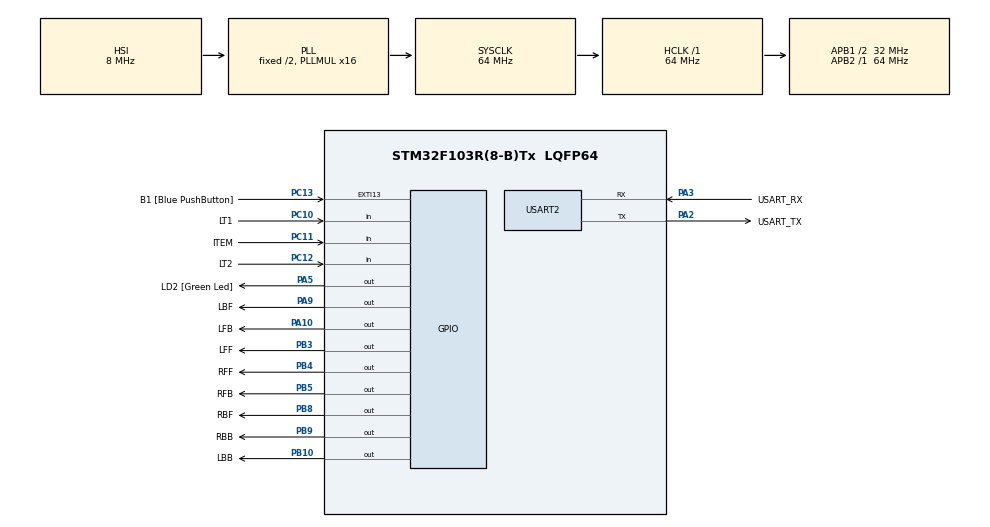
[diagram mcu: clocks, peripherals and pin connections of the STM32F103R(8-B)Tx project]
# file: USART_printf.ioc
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Mcu.Family=STM32F1
Mcu.Name=STM32F103R(8-B)Tx
Mcu.Package=LQFP64
NVIC.EXTI15_10_IRQn=true\:0\:0\:false\:false\:true\:true\:true\:true
NVIC.PriorityGroup=NVIC_PRIORITYGROUP_4
PA10.GPIO_Label=LFB
PA10.Signal=GPIO_Output
PA13.GPIO_Label=TMS
PA13.Mode=Serial_Wire
PA13.Signal=SYS_JTMS-SWDIO
PA14.GPIO_Label=TCK
PA14.Mode=Serial_Wire
PA14.Signal=SYS_JTCK-SWCLK
PA2.GPIO_Label=USART_TX
PA2.GPIO_Mode=GPIO_MODE_AF_PP
PA2.GPIO_PuPd=GPIO_NOPULL
PA2.GPIO_Speed=GPIO_SPEED_FREQ_LOW
PA2.Mode=Asynchronous
PA2.Signal=USART2_TX
PA3.GPIO_Label=USART_RX
PA3.GPIO_Mode=GPIO_MODE_AF_PP
PA3.GPIO_PuPd=GPIO_NOPULL
PA3.GPIO_Speed=GPIO_SPEED_FREQ_LOW
PA3.Mode=Asynchronous
PA3.Signal=USART2_RX
PA5.GPIO_Label=LD2 [Green Led]
PA5.GPIO_ModeDefaultOutputPP=GPIO_MODE_OUTPUT_PP
PA5.GPIO_PuPd=GPIO_NOPULL
PA5.GPIO_Speed=GPIO_SPEED_FREQ_LOW
PA5.Signal=GPIO_Output
PA9.GPIO_Label=LBF
PA9.Signal=GPIO_Output
PB10.GPIO_Label=LBB
PB10.Signal=GPIO_Output
PB3.GPIO_Label=LFF
PB3.Signal=GPIO_Output
PB4.GPIO_Label=RFF
PB4.Signal=GPIO_Output
PB5.GPIO_Label=RFB
PB5.Signal=GPIO_Output
PB8.GPIO_Label=RBF
PB8.Signal=GPIO_Output
PB9.GPIO_Label=RBB
PB9.Signal=GPIO_Output
PC10.GPIO_Label=LT1
PC10.Signal=GPIO_Input
PC11.GPIO_Label=ITEM
PC11.Signal=GPIO_Input
PC12.GPIO_Label=LT2
PC12.Signal=GPIO_Input
PC13-TAMPER-RTC.GPIO_Label=B1 [Blue PushButton]
PC13-TAMPER-RTC.GPIO_PuPd=GPIO_NOPULL
PC13-TAMPER-RTC.Signal=GPXTI13
PC14-OSC32_IN.Signal=RCC_OSC32_IN
PC15-OSC32_OUT.Signal=RCC_OSC32_OUT
PD0-OSC_IN.Signal=RCC_OSC_IN
PD1-OSC_OUT.Signal=RCC_OSC_OUT
ProjectManager.HeapSize=0x200
ProjectManager.StackSize=0x400
ProjectManager.TargetToolchain=STM32CubeIDE
RCC.AHBFreq_Value=64000000
RCC.APB1CLKDivider=RCC_HCLK_DIV2
RCC.APB1Freq_Value=32000000
RCC.APB1TimFreq_Value=64000000
RCC.APB2Freq_Value=64000000
RCC.APB2TimFreq_Value=64000000
RCC.HCLKFreq_Value=64000000
RCC.PLLMUL=RCC_PLL_MUL16
RCC.RTCClockSelection=RCC_RTCCLKSOURCE_LSE
RCC.SYSCLKFreq_VALUE=64000000
RCC.SYSCLKSource=RCC_SYSCLKSOURCE_PLLCLK
RCC.USBFreq_Value=64000000
USART2.VirtualMode=VM_ASYNC
board=NUCLEO-F103RB

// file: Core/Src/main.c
/* USER CODE BEGIN Header */
/**
  ******************************************************************************
  * @file           : main.c
  * @brief          : 서빙 로봇 시스템 v1.4
  ******************************************************************************
  * 센서 시퀀스:
  * 홈:       (0,0) 출발
  * 테이블1:  (1,1) → (1,0) 경계에서 정지
  * 테이블2:  (1,1) → (1,0) → (0,1) 경계에서 정지
  * 테이블3:  (1,1) → (1,0) → (0,1) → (0,0) 경계에서 정지
  ******************************************************************************
  */
/* USER CODE END Header */
#include "main.h"

/* USER CODE BEGIN Includes */
#include <stdio.h>
/* USER CODE END Includes */

UART_HandleTypeDef huart2;

/* USER CODE BEGIN PV */
#ifdef __GNUC__
#define PUTCHAR_PROTOTYPE int __io_putchar(int ch)
#define GETCHAR_PROTOTYPE int __io_getchar(void)
#else
#define PUTCHAR_PROTOTYPE int fputc(int ch, FILE *f)
#define GETCHAR_PROTOTYPE int fgetc(FILE *f)
#endif

int dir = 0;
int LF(int dir){
      switch(dir){
         case 1:
            HAL_GPIO_WritePin(LFF_GPIO_Port, LFF_Pin, 1);
            HAL_GPIO_WritePin(LFB_GPIO_Port, LFB_Pin, 0);
         break;

         case 0:
            HAL_GPIO_WritePin(LFF_GPIO_Port, LFF_Pin, 0);
            HAL_GPIO_WritePin(LFB_GPIO_Port, LFB_Pin, 1);
         break;

         case 2:
            HAL_GPIO_WritePin(LFF_GPIO_Port, LFF_Pin, 0);
            HAL_GPIO_WritePin(LFB_GPIO_Port, LFB_Pin, 0);
         break;
   }
      return 0;
}
int LB(int dir){
      switch(dir){
         case 1:
            HAL_GPIO_WritePin(LBF_GPIO_Port, LBF_Pin, 1);
            HAL_GPIO_WritePin(LBB_GPIO_Port, LBB_Pin, 0);
         break;

         case 0:
            HAL_GPIO_WritePin(LBF_GPIO_Port, LBF_Pin, 0);
            HAL_GPIO_WritePin(LBB_GPIO_Port, LBB_Pin, 1);
         break;

         case 2:
            HAL_GPIO_WritePin(LBF_GPIO_Port, LBF_Pin, 0);
            HAL_GPIO_WritePin(LBB_GPIO_Port, LBB_Pin, 0);
         break;
   }
      return 0;
}
int RF(int dir){
      switch(dir){
         case 1:
            HAL_GPIO_WritePin(RFF_GPIO_Port, RFF_Pin, 1);
            HAL_GPIO_WritePin(RFB_GPIO_Port, RFB_Pin, 0);
         break;

         case 0:
            HAL_GPIO_WritePin(RFF_GPIO_Port, RFF_Pin, 0);
            HAL_GPIO_WritePin(RFB_GPIO_Port, RFB_Pin, 1);
         break;

         case 2:
            HAL_GPIO_WritePin(RFF_GPIO_Port, RFF_Pin, 0);
            HAL_GPIO_WritePin(RFB_GPIO_Port, RFB_Pin, 0);
         break;
   }
      return 0;
}
int RB(int dir){
      switch(dir){
         case 1:
            HAL_GPIO_WritePin(RBF_GPIO_Port, RBF_Pin, 1);
            HAL_GPIO_WritePin(RBB_GPIO_Port, RBB_Pin, 0);
         break;

         case 0:
            HAL_GPIO_WritePin(RBF_GPIO_Port, RBF_Pin, 0);
            HAL_GPIO_WritePin(RBB_GPIO_Port, RBB_Pin, 1);
         break;

         case 2:
            HAL_GPIO_WritePin(RBF_GPIO_Port, RBF_Pin, 0);
            HAL_GPIO_WritePin(RBB_GPIO_Port, RBB_Pin, 0);
         break;
   }
      return 0;
}

int TLF(){
   RF(1); RB(1); LF(2); LB(2);
   return 0;
}
int TRF(){
   RF(2); RB(2); LF(1); LB(1);
   return 0;
}
int TLB(){
   RF(0); RB(0); LF(2); LB(2);
   return 0;
}
int TRB(){
   RF(2); RB(2); LF(0); LB(0);
   return 0;
}
   void MF()
   {
      HAL_GPIO_WritePin(LFF_GPIO_Port, LFF_Pin, 1);
      HAL_GPIO_WritePin(LFB_GPIO_Port, LFB_Pin, 0);
      HAL_GPIO_WritePin(RFF_GPIO_Port, RFF_Pin, 1);
      HAL_GPIO_WritePin(RFB_GPIO_Port, RFB_Pin, 0);
       HAL_GPIO_WritePin(LBF_GPIO_Port, LBF_Pin, 1);
      HAL_GPIO_WritePin(LBB_GPIO_Port, LBB_Pin, 0);
      HAL_GPIO_WritePin(RBF_GPIO_Port, RBF_Pin, 1);
      HAL_GPIO_WritePin(RBB_GPIO_Port, RBB_Pin, 0);
   }

   void MB()
   {
      HAL_GPIO_WritePin(LFF_GPIO_Port, LFF_Pin, 0);
      HAL_GPIO_WritePin(LFB_GPIO_Port, LFB_Pin, 1);
      HAL_GPIO_WritePin(RFF_GPIO_Port, RFF_Pin, 0);
      HAL_GPIO_WritePin(RFB_GPIO_Port, RFB_Pin, 1);
      HAL_GPIO_WritePin(LBF_GPIO_Port, LBF_Pin, 0);
      HAL_GPIO_WritePin(LBB_GPIO_Port, LBB_Pin, 1);
      HAL_GPIO_WritePin(RBF_GPIO_Port, RBF_Pin, 0);
      HAL_GPIO_WritePin(RBB_GPIO_Port, RBB_Pin, 1);
   }

   // ML과 MR 스왑됨 (좌우 방향 수정)
   void MR()
   {
      HAL_GPIO_WritePin(LFF_GPIO_Port, LFF_Pin, 0);
      HAL_GPIO_WritePin(LFB_GPIO_Port, LFB_Pin, 0);
      HAL_GPIO_WritePin(RFF_GPIO_Port, RFF_Pin, 1);
      HAL_GPIO_WritePin(RFB_GPIO_Port, RFB_Pin, 0);
      HAL_GPIO_WritePin(LBF_GPIO_Port, LBF_Pin, 0);
      HAL_GPIO_WritePin(LBB_GPIO_Port, LBB_Pin, 0);
      HAL_GPIO_WritePin(RBF_GPIO_Port, RBF_Pin, 1);
      HAL_GPIO_WritePin(RBB_GPIO_Port, RBB_Pin, 0);
   }
   void ML()
   {
      HAL_GPIO_WritePin(LFF_GPIO_Port, LFF_Pin, 1);
      HAL_GPIO_WritePin(LFB_GPIO_Port, LFB_Pin, 0);
      HAL_GPIO_WritePin(RFF_GPIO_Port, RFF_Pin, 0);
      HAL_GPIO_WritePin(RFB_GPIO_Port, RFB_Pin, 0);
      HAL_GPIO_WritePin(LBF_GPIO_Port, LBF_Pin, 1);
      HAL_GPIO_WritePin(LBB_GPIO_Port, LBB_Pin, 0);
      HAL_GPIO_WritePin(RBF_GPIO_Port, RBF_Pin, 0);
      HAL_GPIO_WritePin(RBB_GPIO_Port, RBB_Pin, 0);
   }
   void ST()
   {
      HAL_GPIO_WritePin(LFF_GPIO_Port, LFF_Pin, 0);
      HAL_GPIO_WritePin(LFB_GPIO_Port, LFB_Pin, 0);
      HAL_GPIO_WritePin(RFF_GPIO_Port, RFF_Pin, 0);
      HAL_GPIO_WritePin(RFB_GPIO_Port, RFB_Pin, 0);
      HAL_GPIO_WritePin(LBF_GPIO_Port, LBF_Pin, 0);
      HAL_GPIO_WritePin(LBB_GPIO_Port, LBB_Pin, 0);
      HAL_GPIO_WritePin(RBF_GPIO_Port, RBF_Pin, 0);
      HAL_GPIO_WritePin(RBB_GPIO_Port, RBB_Pin, 0);
   }

PUTCHAR_PROTOTYPE
{
    if (ch == '\n')
        HAL_UART_Transmit(&huart2, (uint8_t*)"\r", 1, HAL_MAX_DELAY);
    HAL_UART_Transmit(&huart2, (uint8_t*)&ch, 1, HAL_MAX_DELAY);
    return ch;
}

GETCHAR_PROTOTYPE
{
    uint8_t ch;
    HAL_UART_Receive(&huart2, &ch, 1, HAL_MAX_DELAY);
    return ch;
}
/* USER CODE END PV */

void SystemClock_Config(void);
static void MX_GPIO_Init(void);
static void MX_USART2_UART_Init(void);

int main(void)
{

  /* USER CODE BEGIN 1 */
    // === 센서 변수 ===
    uint8_t SEN1 = 0;
    uint8_t SEN2 = 0;
    uint8_t SEN1_prev = 0;
    uint8_t SEN2_prev = 0;

    // === 서빙 로봇 상태 변수 ===
    // 0: 홈대기, 1: 전진중, 2: 도착-물건제거대기, 3: 복귀중, 4: 수동모드
    uint8_t system_state = 0;
    uint8_t target_table = 0;   // 목표 테이블 번호 (1, 2, 3)
    uint8_t item_sensor = 0;    // 물건 감지 센서 (1: 물건있음, 0: 없음)
    uint8_t item_sensor_prev = 0;

    // === 구간 추적 ===
    // 센서 시퀀스: (0,0) → (1,1) → (1,0) → (0,1) → (0,0)
    //             홈      구간1    구간2    구간3    구간4(테이블3)
    uint8_t zone_count = 0;     // 지나간 센서 변화 횟수

    // === UART 변수 ===
    uint8_t rx_data;
    HAL_StatusTypeDef uart_status;
  /* USER CODE END 1 */

  /* MCU Configuration--------------------------------------------------------*/

  /* Reset of all peripherals, Initializes the Flash interface and the Systick. */
  HAL_Init();

  /* Configure the system clock */
  SystemClock_Config();

  /* Initialize all configured peripherals */
  MX_GPIO_Init();
  MX_USART2_UART_Init();
  /* USER CODE BEGIN 2 */
    printf("\n========================================\n");
    printf("       서빙 로봇 시스템 v1.4\n");
    printf("========================================\n");
    printf("[테이블 선택] 1, 2, 3\n");
    printf("[물건 센서]   L: 물건올림, U: 물건내림\n");
    printf("[제어]       0: 강제복귀, X: 비상정지\n");
    printf("[수동조작]   W/A/S/D: 이동, q/e/z/c: 회전\n");
    printf("========================================\n");
    printf("센서 시퀀스:\n");
    printf("홈(0,0)→(1,1)→(1,0)T1→(0,1)T2→(0,0)T3\n");
    printf("========================================\n\n");
  /* USER CODE END 2 */

  /* Infinite loop */
  /* USER CODE BEGIN WHILE */
    while (1)
    {
        // ============================================
        // === 센서 읽기 ===
        // ============================================
        SEN1_prev = SEN1;
        SEN2_prev = SEN2;
        SEN1 = HAL_GPIO_ReadPin(LT1_GPIO_Port, LT1_Pin);
        SEN2 = HAL_GPIO_ReadPin(LT2_GPIO_Port, LT2_Pin);

        // === 물건 감지 센서 읽기 ===
        // 센서 극성: 물건 있음 = 0 (LOAD), 물건 없음 = 1 (UNLOAD)
        item_sensor_prev = item_sensor;
        uint8_t item_raw = HAL_GPIO_ReadPin(ITEM_GPIO_Port, ITEM_Pin);
        item_sensor = (item_raw == 0) ? 1 : 0;

        // 센서 상태 변화 시 LOAD/UNLOAD 출력
        if (item_sensor != item_sensor_prev) {
            if (item_sensor == 1) {
                printf(">>> LOAD\n");
            } else {
                printf(">>> UNLOAD\n");
            }
        }

        // ============================================
        // === 키 입력 처리 ===
        // ============================================
        uart_status = HAL_UART_Receive(&huart2, &rx_data, 1, 10);

        if (uart_status == HAL_OK)
        {
            printf("입력: %c\n", rx_data);

            switch (rx_data)
            {
                // === 테이블 목적지 설정 ===
                case '1':
                    if (system_state == 0 || system_state == 4) {
                        if (system_state == 4) {
                            ST();
                            system_state = 0;
                            printf(">>> 자동 모드로 전환\n");
                        }
                        target_table = 1;
                        zone_count = 0;
                        printf(">>> 목적지: 테이블 1 설정\n");
                    } else {
                        printf(">>> 이동 중에는 목적지 변경 불가\n");
                    }
                    break;

                case '2':
                    if (system_state == 0 || system_state == 4) {
                        if (system_state == 4) {
                            ST();
                            system_state = 0;
                            printf(">>> 자동 모드로 전환\n");
                        }
                        target_table = 2;
                        zone_count = 0;
                        printf(">>> 목적지: 테이블 2 설정\n");
                    } else {
                        printf(">>> 이동 중에는 목적지 변경 불가\n");
                    }
                    break;

                case '3':
                    if (system_state == 0 || system_state == 4) {
                        if (system_state == 4) {
                            ST();
                            system_state = 0;
                            printf(">>> 자동 모드로 전환\n");
                        }
                        target_table = 3;
                        zone_count = 0;
                        printf(">>> 목적지: 테이블 3 설정\n");
                    } else {
                        printf(">>> 이동 중에는 목적지 변경 불가\n");
                    }
                    break;

                // === 물건 센서 시뮬레이션 ===
                case 'L':
                case 'l':
                    item_sensor = 1;
                    printf(">>> LOAD (수동입력)\n");
                    break;

                case 'U':
                case 'u':
                    item_sensor = 0;
                    printf(">>> UNLOAD (수동입력)\n");
                    break;

                // === 강제 홈 복귀 ===
                case '0':
                    if (system_state == 4) {
                        // 수동모드 해제
                        ST();
                        system_state = 0;
                        target_table = 0;
                        zone_count = 0;
                        printf(">>> 수동모드 해제, 홈 대기 상태\n");
                    } else if (system_state == 1 || system_state == 2) {
                        // 이동중/도착 상태에서 강제 복귀
                        system_state = 3;
                        zone_count = 0;  // 복귀용 카운터 리셋
                        printf(">>> 강제 홈 복귀 시작\n");
                    }
                    break;

                // === 비상 정지 ===
                case 'X':
                case 'x':
                    ST();
                    system_state = 0;
                    target_table = 0;
                    zone_count = 0;
                    printf(">>> 비상 정지! 초기화\n");
                    break;

                // === 수동 조작 ===
                case 'W':
                case 'w':
                    system_state = 4;
                    MF();
                    printf(">>> 수동: 전진\n");
                    break;

                case 'S':
                case 's':
                    system_state = 4;
                    MB();
                    printf(">>> 수동: 후진\n");
                    break;

                case 'A':
                case 'a':
                    system_state = 4;
                    ML();
                    printf(">>> 수동: 좌회전\n");
                    break;

                case 'D':
                case 'd':
                    system_state = 4;
                    MR();
                    printf(">>> 수동: 우회전\n");
                    break;

                case 'q':
                case 'Q':
                    system_state = 4;
                    TRF();
                    printf(">>> 수동: 좌회전(전진)\n");
                    break;

                case 'e':
                case 'E':
                    system_state = 4;
                    TLF();
                    printf(">>> 수동: 우회전(전진)\n");
                    break;

                case 'z':
                case 'Z':
                    system_state = 4;
                    TRB();
                    printf(">>> 수동: 좌회전(후진)\n");
                    break;

                case 'c':
                case 'C':
                    system_state = 4;
                    TLB();
                    printf(">>> 수동: 우회전(후진)\n");
                    break;

                default:
                    break;
            }
        }

        // ============================================
        // === 센서 변화 감지 ===
        // ============================================
        uint8_t sensor_changed = (SEN1 != SEN1_prev || SEN2 != SEN2_prev);

        // ============================================
        // === 서빙 로봇 상태 머신 ===
        // ============================================
        /*
         * 전진 센서 시퀀스:
         * 홈(0,0) → (1,1) → (1,0)[T1] → (0,1)[T2] → (0,0)[T3]
         *           zone=1   zone=2      zone=3      zone=4
         *
         * 복귀 센서 시퀀스 (역순):
         * T3(0,0) → (0,1) → (1,0) → (1,1) → (0,0)[홈]
         * T2(0,1) → (1,0) → (1,1) → (0,0)[홈]
         * T1(1,0) → (1,1) → (0,0)[홈]
         */

        switch (system_state)
        {
            // -----------------------------------------
            // 상태 0: 홈 대기
            // -----------------------------------------
            case 0:
                ST();
                if (target_table != 0 && item_sensor == 1) {
                    system_state = 1;
                    zone_count = 0;
                    printf("\n=== 테이블 %d로 출발! ===\n", target_table);
                }
                break;

            // -----------------------------------------
            // 상태 1: 전진 중
            // -----------------------------------------
            case 1:
                MF();

                if (sensor_changed) {
                    // (0,0) → (1,1): zone 1
                    if (SEN1 == 1 && SEN2 == 1 && zone_count == 0) {
                        zone_count = 1;
                        printf(">> 구간1 진입 (1,1)\n");
                    }
                    // (1,1) → (1,0): zone 2 = 테이블1 위치
                    else if (SEN1 == 1 && SEN2 == 0 && zone_count == 1) {
                        zone_count = 2;
                        printf(">> 구간2 진입 (1,0)\n");
                        if (target_table == 1) {
                            ST();
                            system_state = 2;
                            printf("\n=== 테이블 1 도착! ===\n");
                        }
                    }
                    // (1,0) → (0,1): zone 3 = 테이블2 위치
                    else if (SEN1 == 0 && SEN2 == 1 && zone_count == 2) {
                        zone_count = 3;
                        printf(">> 구간3 진입 (0,1)\n");
                        if (target_table == 2) {
                            ST();
                            system_state = 2;
                            printf("\n=== 테이블 2 도착! ===\n");
                        }
                    }
                    // (0,1) → (0,0): zone 4 = 테이블3 위치
                    else if (SEN1 == 0 && SEN2 == 0 && zone_count == 3) {
                        zone_count = 4;
                        printf(">> 구간4 진입 (0,0)\n");
                        if (target_table == 3) {
                            ST();
                            system_state = 2;
                            printf("\n=== 테이블 3 도착! ===\n");
                        }
                    }
                }
                break;

            // -----------------------------------------
            // 상태 2: 도착 - 물건 제거 대기
            // -----------------------------------------
            case 2:
                ST();
                if (item_sensor == 0) {
                    system_state = 3;
                    zone_count = 0;  // 복귀용 카운터 리셋
                    printf("\n=== 물건 제거됨! 홈으로 복귀 시작 ===\n");
                }
                break;

            // -----------------------------------------
            // 상태 3: 복귀 중
            // -----------------------------------------
            case 3:
                MB();

                if (sensor_changed) {
                    /*
                     * 복귀 시퀀스 (현재 위치에 따라 다름):
                     * T1(1,0): (1,0)→(1,1)→(0,0)홈
                     * T2(0,1): (0,1)→(1,0)→(1,1)→(0,0)홈
                     * T3(0,0): (0,0)→(0,1)→(1,0)→(1,1)→(0,0)홈
                     *
                     * 공통: (1,1) 만나면 다음 (0,0)이 홈
                     */

                    // 테이블1 복귀: (1,0) → (1,1) → (0,0)
                    if (target_table == 1) {
                        if (SEN1 == 1 && SEN2 == 1 && zone_count == 0) {
                            zone_count = 1;
                            printf(">> 복귀: (1,1) 진입\n");
                        }
                        else if (SEN1 == 0 && SEN2 == 0 && zone_count == 1) {
                            ST();
                            system_state = 0;
                            target_table = 0;
                            zone_count = 0;
                            printf("\n=== 홈 도착! ===\n");
                        }
                    }
                    // 테이블2 복귀: (0,1) → (1,0) → (1,1) → (0,0)
                    else if (target_table == 2) {
                        if (SEN1 == 1 && SEN2 == 0 && zone_count == 0) {
                            zone_count = 1;
                            printf(">> 복귀: (1,0) 진입\n");
                        }
                        else if (SEN1 == 1 && SEN2 == 1 && zone_count == 1) {
                            zone_count = 2;
                            printf(">> 복귀: (1,1) 진입\n");
                        }
                        else if (SEN1 == 0 && SEN2 == 0 && zone_count == 2) {
                            ST();
                            system_state = 0;
                            target_table = 0;
                            zone_count = 0;
                            printf("\n=== 홈 도착! ===\n");
                        }
                    }
                    // 테이블3 복귀: (0,0) → (0,1) → (1,0) → (1,1) → (0,0)
                    else if (target_table == 3) {
                        if (SEN1 == 0 && SEN2 == 1 && zone_count == 0) {
                            zone_count = 1;
                            printf(">> 복귀: (0,1) 진입\n");
                        }
                        else if (SEN1 == 1 && SEN2 == 0 && zone_count == 1) {
                            zone_count = 2;
                            printf(">> 복귀: (1,0) 진입\n");
                        }
                        else if (SEN1 == 1 && SEN2 == 1 && zone_count == 2) {
                            zone_count = 3;
                            printf(">> 복귀: (1,1) 진입\n");
                        }
                        else if (SEN1 == 0 && SEN2 == 0 && zone_count == 3) {
                            ST();
                            system_state = 0;
                            target_table = 0;
                            zone_count = 0;
                            printf("\n=== 홈 도착! ===\n");
                        }
                    }
                    // 강제 복귀 (target_table이 0이거나 알 수 없는 위치)
                    else {
                        // (0,0)이면서 이전에 (1,1)을 지나온 경우 = 홈
                        if (SEN1 == 1 && SEN2 == 1) {
                            zone_count = 99;  // (1,1) 통과 표시
                            printf(">> 복귀: (1,1) 통과\n");
                        }
                        else if (SEN1 == 0 && SEN2 == 0 && zone_count == 99) {
                            ST();
                            system_state = 0;
                            target_table = 0;
                            zone_count = 0;
                            printf("\n=== 홈 도착! ===\n");
                        }
                    }
                }
                break;

            // -----------------------------------------
            // 상태 4: 수동 모드
            // -----------------------------------------
            case 4:
                // 모터 상태 유지
                break;
        }

        // ============================================
        // === 디버그 출력 ===
        // ============================================
        const char* state_str[] = {"HOME", "FORWARD", "ARRIVED", "RETURN", "MANUAL"};
        const char* item_str = (item_sensor == 1) ? "LOAD" : "UNLOAD";

        printf("ST=%d, TBL=%d, ZONE=%d, SEN=(%d,%d), %s\n",
               system_state, target_table, zone_count, SEN1, SEN2, item_str);

        HAL_Delay(50);
    /* USER CODE END WHILE */

    }
}

void SystemClock_Config(void)
{
  RCC_OscInitTypeDef RCC_OscInitStruct = {0};
  RCC_ClkInitTypeDef RCC_ClkInitStruct = {0};

  /** Initializes the RCC Oscillators according to the specified parameters
  * in the RCC_OscInitTypeDef structure.
  */
  RCC_OscInitStruct.OscillatorType = RCC_OSCILLATORTYPE_HSI;
  RCC_OscInitStruct.HSIState = RCC_HSI_ON;
  RCC_OscInitStruct.HSICalibrationValue = RCC_HSICALIBRATION_DEFAULT;
  RCC_OscInitStruct.PLL.PLLState = RCC_PLL_ON;
  RCC_OscInitStruct.PLL.PLLSource = RCC_PLLSOURCE_HSI_DIV2;
  RCC_OscInitStruct.PLL.PLLMUL = RCC_PLL_MUL16;
  if (HAL_RCC_OscConfig(&RCC_OscInitStruct) != HAL_OK)
  {
    Error_Handler();
  }

  /** Initializes the CPU, AHB and APB buses clocks
  */
  RCC_ClkInitStruct.ClockType = RCC_CLOCKTYPE_HCLK|RCC_CLOCKTYPE_SYSCLK
                              |RCC_CLOCKTYPE_PCLK1|RCC_CLOCKTYPE_PCLK2;
  RCC_ClkInitStruct.SYSCLKSource = RCC_SYSCLKSOURCE_PLLCLK;
  RCC_ClkInitStruct.AHBCLKDivider = RCC_SYSCLK_DIV1;
  RCC_ClkInitStruct.APB1CLKDivider = RCC_HCLK_DIV2;
  RCC_ClkInitStruct.APB2CLKDivider = RCC_HCLK_DIV1;

  if (HAL_RCC_ClockConfig(&RCC_ClkInitStruct, FLASH_LATENCY_2) != HAL_OK)
  {
    Error_Handler();
  }
}

static void MX_USART2_UART_Init(void)
{

  huart2.Instance = USART2;
  huart2.Init.BaudRate = 115200;
  huart2.Init.WordLength = UART_WORDLENGTH_8B;
  huart2.Init.StopBits = UART_STOPBITS_1;
  huart2.Init.Parity = UART_PARITY_NONE;
  huart2.Init.Mode = UART_MODE_TX_RX;
  huart2.Init.HwFlowCtl = UART_HWCONTROL_NONE;
  huart2.Init.OverSampling = UART_OVERSAMPLING_16;
  if (HAL_UART_Init(&huart2) != HAL_OK)
  {
    Error_Handler();
  }

}

static void MX_GPIO_Init(void)
{
  GPIO_InitTypeDef GPIO_InitStruct = {0};

  /* GPIO Ports Clock Enable */
  __HAL_RCC_GPIOC_CLK_ENABLE();
  __HAL_RCC_GPIOD_CLK_ENABLE();
  __HAL_RCC_GPIOA_CLK_ENABLE();
  __HAL_RCC_GPIOB_CLK_ENABLE();

  /*Configure GPIO pin Output Level */
  HAL_GPIO_WritePin(GPIOA, LD2_Pin|LBF_Pin|LFB_Pin, GPIO_PIN_RESET);

  /*Configure GPIO pin Output Level */
  HAL_GPIO_WritePin(GPIOB, LBB_Pin|LFF_Pin|RFF_Pin|RFB_Pin
                          |RBF_Pin|RBB_Pin, GPIO_PIN_RESET);

  /*Configure GPIO pin : B1_Pin */
  GPIO_InitStruct.Pin = B1_Pin;
  GPIO_InitStruct.Mode = GPIO_MODE_IT_RISING;
  GPIO_InitStruct.Pull = GPIO_NOPULL;
  HAL_GPIO_Init(B1_GPIO_Port, &GPIO_InitStruct);

  /*Configure GPIO pins : LD2_Pin LBF_Pin LFB_Pin */
  GPIO_InitStruct.Pin = LD2_Pin|LBF_Pin|LFB_Pin;
  GPIO_InitStruct.Mode = GPIO_MODE_OUTPUT_PP;
  GPIO_InitStruct.Pull = GPIO_NOPULL;
  GPIO_InitStruct.Speed = GPIO_SPEED_FREQ_LOW;
  HAL_GPIO_Init(GPIOA, &GPIO_InitStruct);

  /*Configure GPIO pins : LBB_Pin LFF_Pin RFF_Pin RFB_Pin
                           RBF_Pin RBB_Pin */
  GPIO_InitStruct.Pin = LBB_Pin|LFF_Pin|RFF_Pin|RFB_Pin
                          |RBF_Pin|RBB_Pin;
  GPIO_InitStruct.Mode = GPIO_MODE_OUTPUT_PP;
  GPIO_InitStruct.Pull = GPIO_NOPULL;
  GPIO_InitStruct.Speed = GPIO_SPEED_FREQ_LOW;
  HAL_GPIO_Init(GPIOB, &GPIO_InitStruct);

  /*Configure GPIO pins : LT1_Pin ITEM_Pin LT2_Pin */
  GPIO_InitStruct.Pin = LT1_Pin|ITEM_Pin|LT2_Pin;
  GPIO_InitStruct.Mode = GPIO_MODE_INPUT;
  GPIO_InitStruct.Pull = GPIO_NOPULL;
  HAL_GPIO_Init(GPIOC, &GPIO_InitStruct);

  /* EXTI interrupt init*/
  HAL_NVIC_SetPriority(EXTI15_10_IRQn, 0, 0);
  HAL_NVIC_EnableIRQ(EXTI15_10_IRQn);

}

void Error_Handler(void)
{
  __disable_irq();
  while (1)
  {
  }
}
